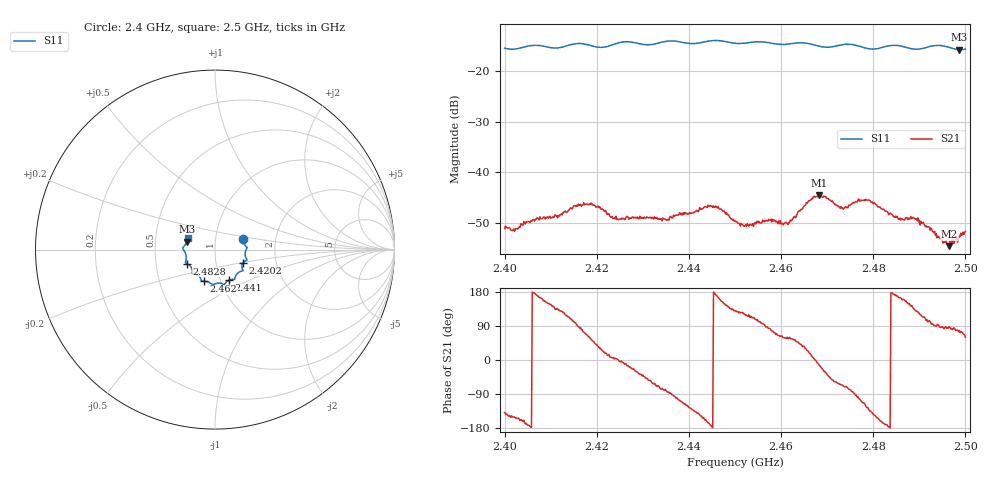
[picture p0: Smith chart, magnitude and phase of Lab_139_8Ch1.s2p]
# Hz S RI R 50
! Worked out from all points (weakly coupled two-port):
!   601 points, 2.4 GHz to 2.5 GHz, reference 50 ohm
!   highest |S21| = -44.61 dB at 2.4682 GHz (marker M1); lowest = -54.7 dB at 2.4965 GHz (marker M2)
!   lowest |S11| = -15.8 dB at 2.4987 GHz (marker M3), VSWR 1.39, Z = 36.3 + j3.25 ohm
!   |S11| at or under -10 dB: start of sweep to end of sweep
!   S12 and S22 are empty: the file has one direction only
!   S11 on the Smith chart (normalised r, x): 2.4 GHz: 1.36, +0.17; 2.4202 GHz: 1.36, -0.20; 2.441 GHz: 1.10, -0.39; 2.462 GHz: 0.83, -0.30; 2.4828 GHz: 0.72, -0.12; 2.5 GHz: 0.73, +0.09
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2.4e9  0.1572 0.0608  -0.00207 -0.00182  0 0  0 0
2.402e9  0.1607 0.0371  -0.00238 -0.00136  0 0  0 0
2.416667e9  0.1774 -0.0591  0.000803 0.00451  0 0  0 0
2.420167e9  0.157 -0.072  0.00361 0.00277  0 0  0 0
2.424833e9  0.1544 -0.112  0.00341 -0.000165  0 0  0 0
2.433333e9  0.1128 -0.1519  0.00129 -0.00315  0 0  0 0
2.441e9  0.0774 -0.1705  -0.00271 -0.00291  0 0  0 0
2.445833e9  0.0515 -0.1944  -0.00456 0.000668  0 0  0 0
2.45e9  0.0271 -0.1868  -0.0021 0.00254  0 0  0 0
2.4525e9  0.00328 -0.19  -0.00138 0.00256  0 0  0 0
2.462e9  -0.0612 -0.176  0.00186 0.00279  0 0  0 0
2.466667e9  -0.0774 -0.1674  0.0054 0.000995  0 0  0 0
2.468167e9  -0.0826 -0.1564  0.00575 -0.00122  0 0  0 0
2.473333e9  -0.1223 -0.1355  0.00179 -0.00406  0 0  0 0
2.478833e9  -0.1292 -0.1057  -0.00313 -0.00427  0 0  0 0
2.482833e9  -0.1577 -0.0779  -0.00406 -0.000684  0 0  0 0
2.483333e9  -0.1606 -0.0765  -0.00378 -0.000286  0 0  0 0
2.486e9  -0.1636 -0.0675  -0.00321 0.000969  0 0  0 0
2.489167e9  -0.1611 -0.0338  -0.00223 0.00258  0 0  0 0
2.4965e9  -0.1703 0.0204  4.66e-05 0.00185  0 0  0 0
2.498667e9  -0.1569 0.0436  0.000484 0.00226  0 0  0 0
2.5e9  -0.1532 0.0619  0.00129 0.00225  0 0  0 0
